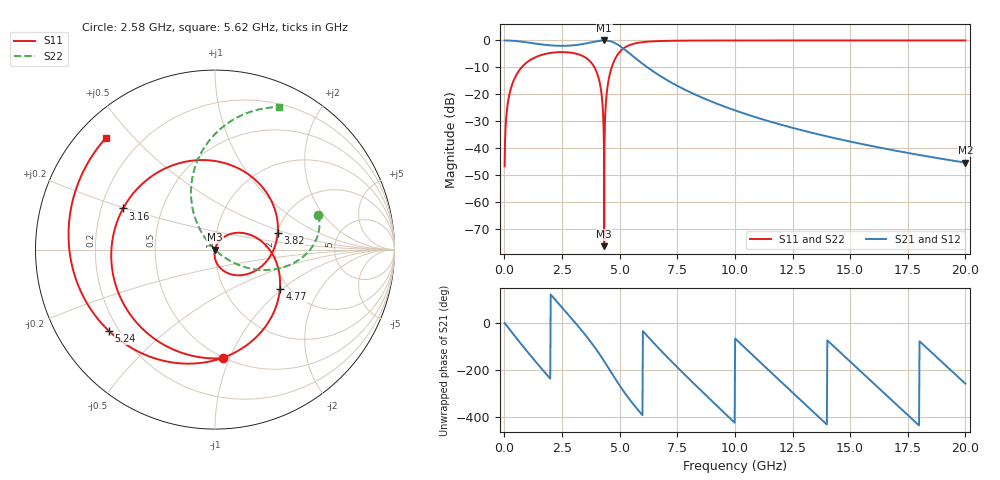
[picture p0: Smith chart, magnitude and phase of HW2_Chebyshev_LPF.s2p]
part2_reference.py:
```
# %% Part II: IDFT with Kaiser
import numpy as np
import matplotlib.pyplot as plt
from scipy.special import i0
from snpreader import snpreader
from scipy.fft import ifft

def db(x):
    return 20 * np.log10(abs(x))

# load S parameter
freq, sp, Z0 = snpreader('HW2_Chebyshev_LPF.s2p', reciproc=True)

plt.figure(dpi=500,figsize=(6, 4))
plt.plot(freq * 1e-9, db(sp[:, 0]), color = (0, 0, 0.8), label='S11', linewidth = 2)
plt.plot(freq * 1e-9, db(sp[:, 1]), color = (0.8, 0, 0), label='S21', linewidth = 2)
plt.xlabel('Frequency (GHz)', fontweight='bold')  # Fill in the xlabel
plt.ylabel('Magnitude (dB)', fontweight='bold')  # Fill in the ylabel
plt.grid(True)  # Fill in grid parameters if needed
plt.legend()
plt.show()

F = 40e9  # Replace with your desired value
#%% multiply with the window function
S11 = sp[:,0]   # extract S11
df = freq[1] - freq[0]    # frequency step (calculated from 'freq')
W = lambda f: i0(np.pi * a * np.sqrt(1 - (2 * f / F)**2)) / i0(np.pi * a)
t1 = 25e-12  # addition time delay 
a = 1.25   # Kaiser parameter
WS11 = W(freq) * S11 * np.exp(-1j*2*np.pi*freq*t1)# W(f) * S11
WS11[0] = 0 # special treatment for the DC point

# IDFT
M =  2**20  # total number of points for IDFT
WS11_padded = np.pad(WS11, (0, M - WS11.size), 'constant')
hW = 2 * df * M * np.real(ifft((WS11_padded)))  # windowed impulse response
dt = 1/ (df * M)
sW =  np.cumsum(hW) * dt   # windowed step response

t = np.arange(0, sW.size) * dt

txt_array = np.loadtxt("C:\\ncuee\\EE8091\\HW2\\spice_ng.txt")
x = txt_array[:, 0]  # First column
y = txt_array[:, 1]  # Second column


plt.figure(dpi=500,figsize=(6, 4))
plt.rcParams["font.family"] = "Times New Roman"
plt.plot(t * 1e9, sW.real, color = (0, 0, 0.8), label='Kaiser IDFT')
plt.plot(x * 1e9, y, linestyle='--', color = (0.8, 0, 0), label='Ngspice')
plt.xlabel('Time (ns)', fontweight='bold')
plt.ylabel('Step response (V)', fontweight='bold')
plt.xlim(0, 3)
plt.grid(True)
plt.legend(prop={'weight': 'bold'})
plt.show()
```
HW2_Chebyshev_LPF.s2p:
! Touchstone file from project
# GHZ S MA R 50.000000
! Modal data exported
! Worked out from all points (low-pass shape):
!   2000 points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, 10 MHz to 20 GHz, reference 50 ohm
!   highest |S21| = 0.00 dB at 4.33 GHz (marker M1); lowest = -45.4 dB at 20 GHz (marker M2)
!   |S21| within 3 dB of the highest: start of sweep to 5.162 GHz
!   lowest |S11| = -76.5 dB at 4.33 GHz (marker M3), VSWR 1.00, Z = 50 - j0.0146 ohm
!   |S11| at or under -10 dB: start of sweep to 748.9 MHz; 3.907 GHz to 4.656 GHz (748.9 MHz wide, 17.5 % of centre)
!   |S22| runs from -76.5 to 0.0 dB; largest |S21 - S12| = 0
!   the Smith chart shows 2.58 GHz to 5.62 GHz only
!   S11 on the Smith chart (normalised r, x): 2.58 GHz: 0.49, -0.94; 3.16 GHz: 0.29, +0.20; 3.82 GHz: 2.01, +0.44; 4.77 GHz: 1.80, -0.97; 5.24 GHz: 0.16, -0.33; 5.62 GHz: 0.08, +0.42
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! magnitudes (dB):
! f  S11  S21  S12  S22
! 10 MHz  -46.8  0.0  0.0  -46.8
! 580 MHz  -11.9  -0.3  -0.3  -11.9
! 2.58 GHz  -4.3  -2.0  -2.0  -4.3
! 3.16 GHz  -5.0  -1.6  -1.6  -5.0
! 3.82 GHz  -8.8  -0.6  -0.6  -8.8
! 4.33 GHz  -76.5  0.0  0.0  -76.5
! 4.77 GHz  -7.5  -0.9  -0.9  -7.5
! 5.24 GHz  -2.6  -3.5  -3.5  -2.6
! 5.62 GHz  -1.2  -6.1  -6.1  -1.2
! 10.01 GHz  0.0  -26.0  -26.0  0.0
! 20 GHz  0.0  -45.4  -45.4  0.0
